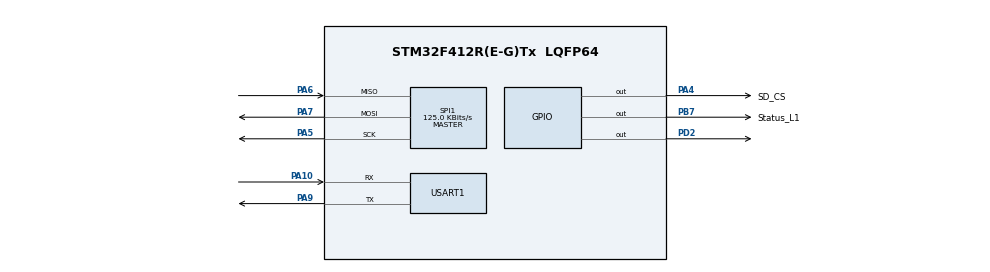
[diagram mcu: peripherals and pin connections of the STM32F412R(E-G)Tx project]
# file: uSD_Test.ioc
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FATFS._MAX_SS=4096
FATFS._USE_LFN=1
Mcu.Family=STM32F4
Mcu.Name=STM32F412R(E-G)Tx
Mcu.Package=LQFP64
NVIC.PriorityGroup=NVIC_PRIORITYGROUP_4
PA10.Mode=Asynchronous
PA10.Signal=USART1_RX
PA13.Mode=Serial_Wire
PA13.Signal=SYS_JTMS-SWDIO
PA14.Mode=Serial_Wire
PA14.Signal=SYS_JTCK-SWCLK
PA4.GPIO_Label=SD_CS
PA4.Signal=GPIO_Output
PA5.Mode=Full_Duplex_Master
PA5.Signal=SPI1_SCK
PA6.Mode=Full_Duplex_Master
PA6.Signal=SPI1_MISO
PA7.Mode=Full_Duplex_Master
PA7.Signal=SPI1_MOSI
PA9.Mode=Asynchronous
PA9.Signal=USART1_TX
PB7.GPIO_Label=Status_L1
PB7.Signal=GPIO_Output
PC10.Signal=SPI3_SCK
PC14-OSC32_IN.Mode=LSE-External-Oscillator
PC14-OSC32_IN.Signal=RCC_OSC32_IN
PC15-OSC32_OUT.Mode=LSE-External-Oscillator
PC15-OSC32_OUT.Signal=RCC_OSC32_OUT
PD2.Signal=GPIO_Output
PH0\ -\ OSC_IN.Mode=HSE-External-Oscillator
PH0\ -\ OSC_IN.Signal=RCC_OSC_IN
PH1\ -\ OSC_OUT.Mode=HSE-External-Oscillator
PH1\ -\ OSC_OUT.Signal=RCC_OSC_OUT
ProjectManager.HeapSize=0x200
ProjectManager.StackSize=0x400
ProjectManager.TargetToolchain=STM32CubeIDE
RCC.CortexFreq_Value=16000000
RCC.HSE_VALUE=16000000
RCC.USBFreq_Value=96000000
RCC.VCOOutputFreq_Value=192000000
SPI1.BaudRatePrescaler=SPI_BAUDRATEPRESCALER_128
SPI1.CalculateBaudRate=125.0 KBits/s
SPI1.Direction=SPI_DIRECTION_2LINES
SPI1.Mode=SPI_MODE_MASTER
SPI1.VirtualType=VM_MASTER
USART1.VirtualMode=VM_ASYNC
VP_FATFS_VS_Generic.Mode=User_defined
board=custom

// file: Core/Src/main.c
/* USER CODE BEGIN Header */
/**
  ******************************************************************************
  * @file           : main.c
  * @brief          : Main program body
  ******************************************************************************
  * @attention
  *
  * Copyright (c) 2023 STMicroelectronics.
  * All rights reserved.
  *
  * This software is licensed under terms that can be found in the LICENSE file
  * in the root directory of this software component.
  * If no LICENSE file comes with this software, it is provided AS-IS.
  *
  ******************************************************************************
  */
/* USER CODE END Header */
#include "main.h"
#include "fatfs.h"

/* USER CODE BEGIN Includes */
#include "fatfs_sd.h"
#include <string.h>
#include <stdio.h>
#include <stdlib.h>
/* USER CODE END Includes */

SPI_HandleTypeDef hspi1;

UART_HandleTypeDef huart1;

void SystemClock_Config(void);
static void MX_GPIO_Init(void);
static void MX_USART1_UART_Init(void);
static void MX_SPI1_Init(void);

/* USER CODE BEGIN 0 */
FATFS* fs;
FIL fil;
FRESULT fresult;
char buffer[1024];

UINT br, bw;

FATFS* pfs;
DWORD fre_clust;
uint32_t total, free_space;

int bufsize (char *buff)
{
	int i = 0;
	while (*buff++ != '\0') i++;
	return i;
}

void clear_buffer (char* buffer2)
{
	for (int i = 0; i < 1024; i ++)
		buffer2[i] = '\0';
}
/* USER CODE END 0 */

int main(void)
{

  /* MCU Configuration--------------------------------------------------------*/

  /* Reset of all peripherals, Initializes the Flash interface and the Systick. */
  HAL_Init();

  /* USER CODE BEGIN Init */
  fs = (FATFS *)malloc(sizeof (FATFS));
  /* USER CODE END Init */

  /* Configure the system clock */
  SystemClock_Config();

  /* USER CODE BEGIN SysInit */
  char buffer[1024];
  /* USER CODE END SysInit */

  /* Initialize all configured peripherals */
  MX_GPIO_Init();
  MX_FATFS_Init();
  MX_USART1_UART_Init();
  MX_SPI1_Init();
  /* USER CODE BEGIN 2 */
  fresult = f_mount(fs,"",0);
  if (fresult != FR_OK)
	  Error_Handler();

  // HAL_UART_Transmit(&huart1,(uint8_t*)buffer,strlen(buffer),1000);
  // clear_buffer(buffer);

  fresult = f_open(&fil, "SD_TestFile.txt", FA_CREATE_ALWAYS |
		  FA_WRITE);

  /* Writing text */
  strcpy (buffer, "This is a test string to test SD file in PF09 Cards. If you read this the SD card is approved.\n");

  fresult = f_write(&fil, buffer, strlen(buffer), &bw);

  /* Close file */
  f_close(&fil);
  HAL_GPIO_TogglePin(Status_L1_GPIO_Port,Status_L1_Pin);
  HAL_Delay(1000);
  HAL_GPIO_TogglePin(Status_L1_GPIO_Port,Status_L1_Pin);
  /* Open second file to read */
  fresult = f_open(&fil, "SD_TestFile.txt", FA_READ);
  clear_buffer(buffer);
  /* Read data from the file
   * Please see the function details for the arguments */
  f_read (&fil, buffer, f_size(&fil), &br);
  // HAL_UART_Transmit(&huart1,(uint8_t*)buffer,strlen(buffer),1000);
  /* Close file */
  f_close(&fil);
  /* USER CODE END 2 */

  /* Infinite loop */
  while (1)
  {

  }
}

void SystemClock_Config(void)
{
  RCC_OscInitTypeDef RCC_OscInitStruct = {0};
  RCC_ClkInitTypeDef RCC_ClkInitStruct = {0};

  /** Configure the main internal regulator output voltage
  */
  __HAL_RCC_PWR_CLK_ENABLE();
  __HAL_PWR_VOLTAGESCALING_CONFIG(PWR_REGULATOR_VOLTAGE_SCALE1);

  /** Initializes the RCC Oscillators according to the specified parameters
  * in the RCC_OscInitTypeDef structure.
  */
  RCC_OscInitStruct.OscillatorType = RCC_OSCILLATORTYPE_HSI;
  RCC_OscInitStruct.HSIState = RCC_HSI_ON;
  RCC_OscInitStruct.HSICalibrationValue = RCC_HSICALIBRATION_DEFAULT;
  RCC_OscInitStruct.PLL.PLLState = RCC_PLL_NONE;
  if (HAL_RCC_OscConfig(&RCC_OscInitStruct) != HAL_OK)
  {
    Error_Handler();
  }

  /** Initializes the CPU, AHB and APB buses clocks
  */
  RCC_ClkInitStruct.ClockType = RCC_CLOCKTYPE_HCLK|RCC_CLOCKTYPE_SYSCLK
                              |RCC_CLOCKTYPE_PCLK1|RCC_CLOCKTYPE_PCLK2;
  RCC_ClkInitStruct.SYSCLKSource = RCC_SYSCLKSOURCE_HSI;
  RCC_ClkInitStruct.AHBCLKDivider = RCC_SYSCLK_DIV1;
  RCC_ClkInitStruct.APB1CLKDivider = RCC_HCLK_DIV1;
  RCC_ClkInitStruct.APB2CLKDivider = RCC_HCLK_DIV1;

  if (HAL_RCC_ClockConfig(&RCC_ClkInitStruct, FLASH_LATENCY_0) != HAL_OK)
  {
    Error_Handler();
  }
}

static void MX_SPI1_Init(void)
{

  /* SPI1 parameter configuration*/
  hspi1.Instance = SPI1;
  hspi1.Init.Mode = SPI_MODE_MASTER;
  hspi1.Init.Direction = SPI_DIRECTION_2LINES;
  hspi1.Init.DataSize = SPI_DATASIZE_8BIT;
  hspi1.Init.CLKPolarity = SPI_POLARITY_LOW;
  hspi1.Init.CLKPhase = SPI_PHASE_1EDGE;
  hspi1.Init.NSS = SPI_NSS_SOFT;
  hspi1.Init.BaudRatePrescaler = SPI_BAUDRATEPRESCALER_128;
  hspi1.Init.FirstBit = SPI_FIRSTBIT_MSB;
  hspi1.Init.TIMode = SPI_TIMODE_DISABLE;
  hspi1.Init.CRCCalculation = SPI_CRCCALCULATION_DISABLE;
  hspi1.Init.CRCPolynomial = 10;
  if (HAL_SPI_Init(&hspi1) != HAL_OK)
  {
    Error_Handler();
  }

}

static void MX_USART1_UART_Init(void)
{

  huart1.Instance = USART1;
  huart1.Init.BaudRate = 115200;
  huart1.Init.WordLength = UART_WORDLENGTH_8B;
  huart1.Init.StopBits = UART_STOPBITS_1;
  huart1.Init.Parity = UART_PARITY_NONE;
  huart1.Init.Mode = UART_MODE_TX_RX;
  huart1.Init.HwFlowCtl = UART_HWCONTROL_NONE;
  huart1.Init.OverSampling = UART_OVERSAMPLING_16;
  if (HAL_UART_Init(&huart1) != HAL_OK)
  {
    Error_Handler();
  }

}

static void MX_GPIO_Init(void)
{
  GPIO_InitTypeDef GPIO_InitStruct = {0};

  /* GPIO Ports Clock Enable */
  __HAL_RCC_GPIOC_CLK_ENABLE();
  __HAL_RCC_GPIOH_CLK_ENABLE();
  __HAL_RCC_GPIOA_CLK_ENABLE();
  __HAL_RCC_GPIOD_CLK_ENABLE();
  __HAL_RCC_GPIOB_CLK_ENABLE();

  /*Configure GPIO pin Output Level */
  HAL_GPIO_WritePin(SD_CS_GPIO_Port, SD_CS_Pin, GPIO_PIN_RESET);

  /*Configure GPIO pin Output Level */
  HAL_GPIO_WritePin(GPIOD, GPIO_PIN_2, GPIO_PIN_RESET);

  /*Configure GPIO pin Output Level */
  HAL_GPIO_WritePin(Status_L1_GPIO_Port, Status_L1_Pin, GPIO_PIN_RESET);

  /*Configure GPIO pin : SD_CS_Pin */
  GPIO_InitStruct.Pin = SD_CS_Pin;
  GPIO_InitStruct.Mode = GPIO_MODE_OUTPUT_PP;
  GPIO_InitStruct.Pull = GPIO_NOPULL;
  GPIO_InitStruct.Speed = GPIO_SPEED_FREQ_LOW;
  HAL_GPIO_Init(SD_CS_GPIO_Port, &GPIO_InitStruct);

  /*Configure GPIO pin : PC10 */
  GPIO_InitStruct.Pin = GPIO_PIN_10;
  GPIO_InitStruct.Mode = GPIO_MODE_AF_PP;
  GPIO_InitStruct.Pull = GPIO_NOPULL;
  GPIO_InitStruct.Speed = GPIO_SPEED_FREQ_VERY_HIGH;
  GPIO_InitStruct.Alternate = GPIO_AF6_SPI3;
  HAL_GPIO_Init(GPIOC, &GPIO_InitStruct);

  /*Configure GPIO pin : PD2 */
  GPIO_InitStruct.Pin = GPIO_PIN_2;
  GPIO_InitStruct.Mode = GPIO_MODE_OUTPUT_PP;
  GPIO_InitStruct.Pull = GPIO_NOPULL;
  GPIO_InitStruct.Speed = GPIO_SPEED_FREQ_LOW;
  HAL_GPIO_Init(GPIOD, &GPIO_InitStruct);

  /*Configure GPIO pin : Status_L1_Pin */
  GPIO_InitStruct.Pin = Status_L1_Pin;
  GPIO_InitStruct.Mode = GPIO_MODE_OUTPUT_PP;
  GPIO_InitStruct.Pull = GPIO_NOPULL;
  GPIO_InitStruct.Speed = GPIO_SPEED_FREQ_LOW;
  HAL_GPIO_Init(Status_L1_GPIO_Port, &GPIO_InitStruct);

}

void Error_Handler(void)
{
  __disable_irq();
  while (1)
  {
  }
}
